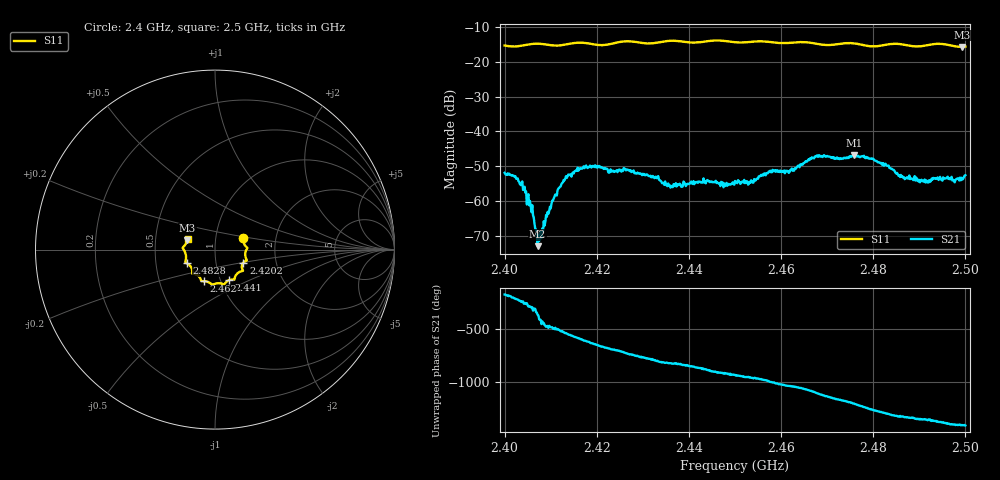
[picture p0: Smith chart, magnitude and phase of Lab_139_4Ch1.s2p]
# Hz S RI R 50
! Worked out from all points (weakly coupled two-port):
!   601 points, 2.4 GHz to 2.5 GHz, reference 50 ohm
!   highest |S21| = -46.75 dB at 2.4758 GHz (marker M1); lowest = -72.9 dB at 2.4072 GHz (marker M2)
!   lowest |S11| = -15.8 dB at 2.4993 GHz (marker M3), VSWR 1.39, Z = 36.5 + j3.9 ohm
!   |S11| at or under -10 dB: start of sweep to end of sweep
!   S12 and S22 are empty: the file has one direction only
!   S11 on the Smith chart (normalised r, x): 2.4 GHz: 1.36, +0.17; 2.4202 GHz: 1.36, -0.20; 2.441 GHz: 1.10, -0.39; 2.462 GHz: 0.84, -0.30; 2.4828 GHz: 0.72, -0.11; 2.5 GHz: 0.73, +0.09
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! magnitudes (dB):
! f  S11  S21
! 2.4 GHz  -15.4  -51.9
! 2.4023 GHz  -15.6  -52.9
! 2.4042 GHz  -15.3  -56.4
! 2.4055 GHz  -15.0  -59.9
! 2.4072 GHz  -14.9  -72.9
! 2.4077 GHz  -14.9  -68.8
! 2.4107 GHz  -15.4  -59.2
! 2.4128 GHz  -15.2  -53.9
! 2.4167 GHz  -14.6  -50.6
! 2.4202 GHz  -15.2  -50.4
! 2.4333 GHz  -14.5  -52.8
! 2.4362 GHz  -14.0  -55.6
! 2.441 GHz  -14.6  -54.2
! 2.45 GHz  -14.4  -54.2
! 2.462 GHz  -14.6  -51.1
! 2.4667 GHz  -14.6  -47.4
! 2.4758 GHz  -14.8  -46.8
! 2.4828 GHz  -15.1  -49.8
! 2.4833 GHz  -15.0  -49.8
! 2.4903 GHz  -15.6  -53.9
! 2.4993 GHz  -15.8  -53.8
! 2.5 GHz  -15.7  -52.6
